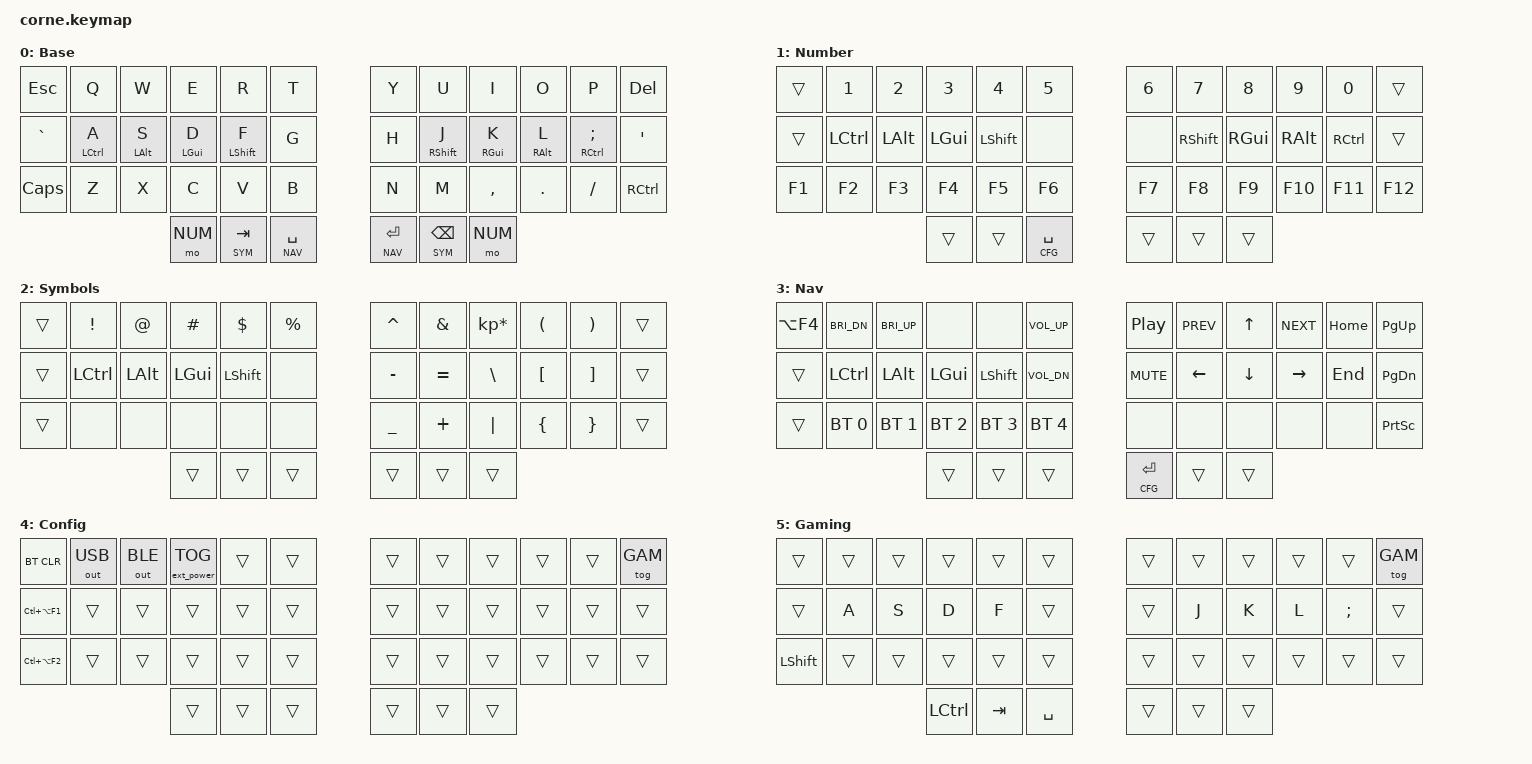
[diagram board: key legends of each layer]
/*
 * Copyright (c) 2020 The ZMK Contributors
 *
 * SPDX-License-Identifier: MIT
 */

#include <behaviors.dtsi>
#include <dt-bindings/zmk/keys.h>
#include <dt-bindings/zmk/bt.h>
#include <dt-bindings/zmk/outputs.h>
#include <dt-bindings/zmk/ext_power.h>

#define DEFAULT 0
#define NUM 1
#define SYM 2
#define NAV 3
#define CFG 4
#define GAM 5

/ {
      behaviors {
        hm: homerow_mods {
            compatible = "zmk,behavior-hold-tap";
            #binding-cells = <2>;
            tapping-term-ms = <200>;
            quick-tap-ms = <0>;
            flavor = "tap-preferred";
            bindings = <&kp>, <&kp>;
        };
   };

        keymap {
                compatible = "zmk,keymap";

                default_layer {
                        label = "Base";
                        bindings = <
   &kp ESC   &kp Q       &kp W      &kp E      &kp R       &kp T   &kp Y &kp U       &kp I      &kp O      &kp P          &kp DELETE
   &kp GRAVE &hm LCTRL A &hm LALT S &hm LGUI D &hm LSHFT F &kp G   &kp H &hm RSHFT J &hm RGUI K &hm RALT L &hm RCTRL SEMI &kp SQT
   &kp CAPS  &kp Z       &kp X      &kp C      &kp V       &kp B   &kp N &kp M       &kp COMMA  &kp DOT    &kp FSLH       &kp RCTRL
                              &mo NUM &lt SYM TAB &lt NAV SPACE   &lt NAV RET &lt SYM BSPC &mo NUM
                        >;
                };

                number_layer {
                        label = "Number";
                        bindings = <
   &trans &kp N1    &kp N2   &kp N3   &kp N4    &kp N5         &kp N6 &kp N7    &kp N8   &kp N9   &kp N0    &trans
   &trans &kp LCTRL &kp LALT &kp LGUI &kp LSHFT &none          &none  &kp RSHFT &kp RGUI &kp RALT &kp RCTRL &trans
   &kp F1 &kp F2    &kp F3   &kp F4   &kp F5    &kp F6         &kp F7 &kp F8    &kp F9   &kp F10  &kp F11   &kp F12
                          	 &trans   &trans    &lt CFG SPACE  &trans &trans    &trans
                        >;
                };

                symbols_layer {
                        label = "Symbols";
                        bindings = <
   &trans &kp EXCL  &kp AT   &kp HASH &kp DLLR  &kp PRCNT   &kp CARET &kp AMPS  &kp KP_MULTIPLY &kp LPAR &kp RPAR &trans
   &trans &kp LCTRL &kp LALT &kp LGUI &kp LSHFT &none       &kp MINUS &kp EQUAL &kp BSLH        &kp LBKT &kp RBKT &trans
   &trans &none     &none    &none    &none     &none       &kp UNDER &kp PLUS  &kp PIPE        &kp LBRC &kp RBRC &trans
                    	       &trans   &trans    &trans      &trans    &trans    &trans
                        >;
                };

                nav_layer {
                        label = "Nav";
                        bindings = <
   &kp LA(F4)     &kp C_BRI_DN  &kp C_BRI_UP &none        &none        &kp C_VOL_UP &kp C_PP &kp C_PREV &kp UP   &kp C_NEXT &kp HOME &kp PG_UP
   &trans     &kp LCTRL     &kp LALT     &kp LGUI     &kp LSHFT    &kp C_VOL_DN   &kp C_MUTE  &kp LEFT   &kp DOWN &kp RIGHT &kp END &kp PG_DN
   &trans     &bt BT_SEL 0  &bt BT_SEL 1 &bt BT_SEL 2 &bt BT_SEL 3 &bt BT_SEL 4   &none    &none      &none    &none      &none     &kp PRINTSCREEN
                    	                   &trans       &trans       &trans         &lt CFG RET &trans     &trans
                        >;
                };


                config_layer {
                        label = "Config";
                        bindings = <
   &bt BT_CLR  &out OUT_USB &out OUT_BLE &ext_power EP_TOG &trans &trans  &trans &trans &trans &trans &trans &tog GAM
   &kp LC(LA(F1))      &trans       &trans       &trans &trans &trans  &trans &trans &trans &trans &trans &trans
   &kp LC(LA(F2))      &trans       &trans       &trans &trans &trans  &trans &trans &trans &trans &trans &trans
                                         &trans &trans &trans  &trans &trans &trans
                        >;
                };

                gaming_layer {
                        label = "Gaming";
                        bindings = <
   &trans  &trans &trans &trans &trans &trans  &trans &trans &trans &trans &trans &tog GAM
   &trans &kp A       &kp S       &kp D &kp F &trans  &trans &kp J &kp K &kp L &kp SEMI &trans
   &kp LSHFT      &trans       &trans       &trans &trans &trans  &trans &trans &trans &trans &trans &trans
                                         &kp LCTRL &kp TAB &kp SPACE  &trans &trans &trans
                        >;
                };
        };
};
